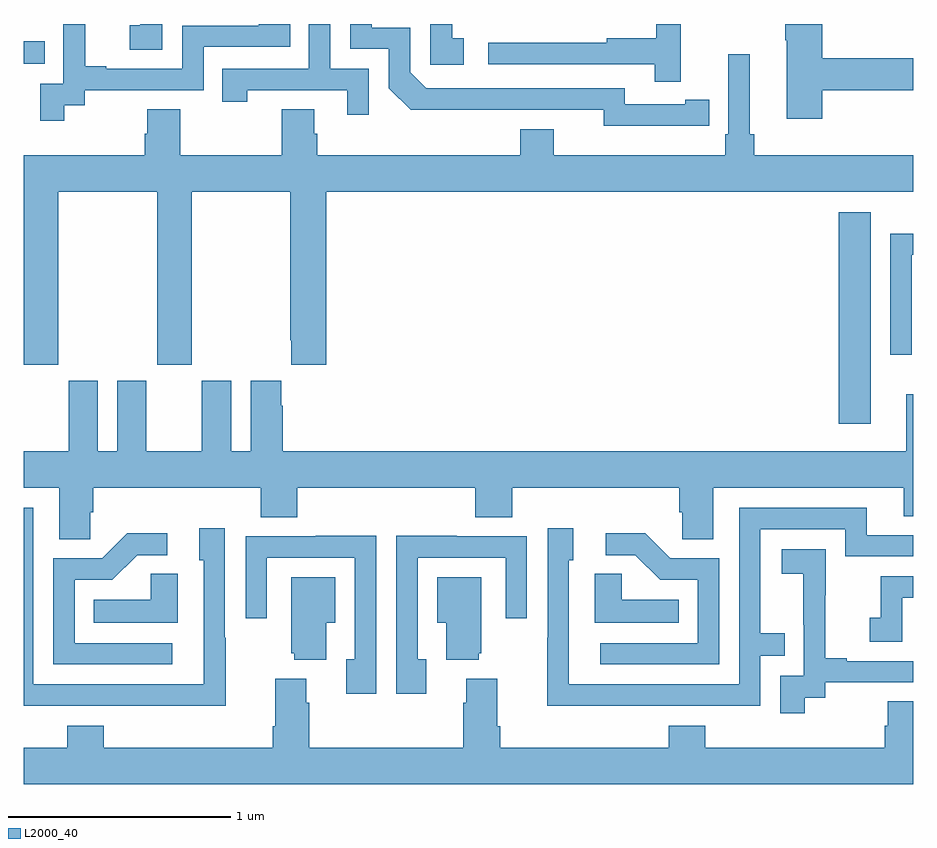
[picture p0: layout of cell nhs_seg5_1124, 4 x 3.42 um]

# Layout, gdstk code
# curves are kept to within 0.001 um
import gdstk
lib = gdstk.Library(unit=1e-6, precision=1e-09)
def R(c, l, rs):  # rectangles x0, y0, x1, y1
    for r in rs: c.add(gdstk.rectangle(r[:2], r[2:], *l))
def P(c, l, *ps):  # polygons
    for p in ps: c.add(gdstk.Polygon(p, *l))
L2000_40 = (2000, 40)

nhs_seg5_1124 = lib.new_cell('nhs_seg5_1124')
R(nhs_seg5_1124, L2000_40, [(182.666,905.001,182.809,905.953), (179,906.621,179.093,906.722)])
P(nhs_seg5_1124, L2000_40, [(179.182,906.433),(179.274,906.433),(179.274,906.501),(179.808,906.501),(179.808,906.696),(180.197,906.696),(180.197,906.799),(180.057,906.799),(180.057,906.792),(179.712,906.792),(179.712,906.597),(179.371,906.597),(179.371,906.61),(179.276,906.61),(179.276,906.799),(179.177,906.799),(179.177,906.761),(179.178,906.761),(179.178,906.531),(179.073,906.531),(179.073,906.363),(179.182,906.363)],
  [(180.979,906.735),(180.926,906.735),(180.926,906.799),(180.828,906.799),(180.828,906.615),(180.979,906.615)],
  [(180.552,906.597),(180.378,906.597),(180.378,906.799),(180.282,906.799),(180.282,906.597),(179.893,906.597),(179.893,906.45),(180.004,906.45),(180.004,906.501),(180.455,906.501),(180.455,906.39),(180.552,906.39)],
  [(179.622,906.799),(179.524,906.799),(179.524,906.793),(179.475,906.793),(179.475,906.684),(179.622,906.684)],
  [(182.591,906.502),(183,906.502),(183,906.644),(182.591,906.644),(182.591,906.799),(182.425,906.799),(182.425,906.727),(182.432,906.727),(182.432,906.372),(182.591,906.372)],
  [(181.976,906.342),(182.084,906.342),(182.084,906.458),(181.976,906.458),(181.976,906.438),(181.704,906.438),(181.704,906.51),(180.81,906.51),(180.738,906.582),(180.738,906.783),(180.565,906.783),(180.565,906.799),(180.468,906.799),(180.468,906.687),(180.642,906.687),(180.642,906.51),(180.74,906.413),(181.608,906.414),(181.608,906.341)],
  [(181.955,906.799),(181.845,906.799),(181.845,906.734),(181.621,906.734),(181.621,906.714),(181.089,906.714),(181.089,906.618),(181.837,906.618),(181.837,906.54),(181.955,906.54)],
  [(179.154,906.044),(179.599,906.044),(179.599,905.265),(179.754,905.265),(179.754,906.044),(180.199,906.044),(180.199,905.377),(180.203,905.377),(180.203,905.265),(180.359,905.265),(180.359,906.044),(183,906.044),(183,906.208),(182.285,906.208),(182.285,906.304),(182.266,906.304),(182.266,906.664),(182.169,906.664),(182.169,906.304),(182.156,906.304),(182.156,906.208),(181.384,906.208),(181.384,906.325),(181.232,906.325),(181.232,906.208),(180.32,906.208),(180.32,906.306),(180.307,906.306),(180.307,906.416),(180.16,906.416),(180.16,906.208),(179.703,906.208),(179.703,906.416),(179.555,906.416),(179.555,906.306),(179.543,906.306),(179.543,906.208),(179,906.208),(179,905.265),(179.154,905.265)],
  [(182.994,905.76),(183,905.76),(183,905.856),(182.898,905.856),(182.898,905.31),(182.994,905.31)],
  [(180.164,905.081),(180.157,905.081),(180.157,905.194),(180.02,905.194),(180.02,904.876),(179.932,904.876),(179.932,905.194),(179.801,905.194),(179.801,904.876),(179.551,904.876),(179.551,905.194),(179.42,905.194),(179.42,904.876),(179.332,904.876),(179.332,905.194),(179.201,905.194),(179.201,904.876),(179,904.876),(179,904.712),(179.159,904.712),(179.159,904.48),(179.298,904.48),(179.298,904.603),(179.312,904.603),(179.312,904.712),(180.065,904.712),(180.065,904.579),(180.23,904.579),(180.23,904.712),(181.031,904.712),(181.031,904.579),(181.196,904.579),(181.196,904.712),(181.949,904.712),(181.949,904.603),(181.962,904.603),(181.962,904.48),(182.101,904.48),(182.101,904.712),(182.957,904.712),(182.957,904.585),(183,904.585),(183,905.134),(182.969,905.134),(182.969,904.876),(180.164,904.876)],
  [(181.817,903.732),(182.313,903.732),(182.313,903.957),(182.423,903.957),(182.423,904.058),(182.313,904.058),(182.313,904.527),(182.694,904.527),(182.694,904.404),(183,904.404),(183,904.5),(182.791,904.5),(182.791,904.623),(182.217,904.623),(182.217,903.828),(181.452,903.828),(181.452,904.386),(181.471,904.386),(181.471,904.531),(181.356,904.531),(181.356,904.037),(181.354,904.037),(181.354,903.731),(181.817,903.731)],
  [(179.907,904.037),(179.904,904.037),(179.904,904.531),(179.789,904.531),(179.789,904.386),(179.808,904.386),(179.808,903.828),(179.043,903.828),(179.043,904.623),(179,904.623),(179,903.732),(179.443,903.732),(179.443,903.731),(179.907,903.731)],
  [(179.668,904.014),(179.229,904.014),(179.229,904.299),(179.398,904.299),(179.509,904.41),(179.644,904.41),(179.644,904.508),(179.465,904.508),(179.352,904.395),(179.133,904.395),(179.133,903.918),(179.668,903.918)],
  [(182.127,904.395),(181.908,904.395),(181.795,904.508),(181.617,904.508),(181.617,904.41),(181.751,904.41),(181.862,904.299),(182.031,904.299),(182.031,904.014),(181.593,904.014),(181.593,903.918),(182.127,903.918)],
  [(180.811,903.942),(180.771,903.942),(180.771,904.398),(181.167,904.398),(181.167,904.125),(181.263,904.125),(181.263,904.494),(180.947,904.494),(180.947,904.496),(180.675,904.496),(180.675,903.786),(180.811,903.786)],
  [(180.585,904.496),(180.313,904.496),(180.313,904.494),(179.997,904.494),(179.997,904.125),(180.093,904.125),(180.093,904.398),(180.489,904.398),(180.489,903.942),(180.449,903.942),(180.449,903.786),(180.585,903.786)],
  [(182.512,903.769),(182.604,903.769),(182.604,903.837),(183,903.837),(183,903.933),(182.701,903.933),(182.701,903.946),(182.606,903.946),(182.606,904.229),(182.607,904.229),(182.607,904.435),(182.409,904.435),(182.409,904.325),(182.507,904.325),(182.507,904.097),(182.508,904.097),(182.508,903.867),(182.403,903.867),(182.403,903.699),(182.512,903.699)],
  [(179.692,904.325),(179.571,904.325),(179.571,904.21),(179.314,904.21),(179.314,904.106),(179.692,904.106)],
  [(181.946,904.21),(181.689,904.21),(181.689,904.325),(181.568,904.325),(181.568,904.106),(181.946,904.106)],
  [(182.952,904.218),(183,904.218),(183,904.314),(182.854,904.314),(182.854,904.129),(182.805,904.129),(182.805,904.02),(182.952,904.02)],
  [(180.361,904.106),(180.4,904.106),(180.4,904.309),(180.203,904.309),(180.203,903.969),(180.215,903.969),(180.215,903.938),(180.361,903.938)],
  [(181.046,903.969),(181.057,903.969),(181.057,904.309),(180.86,904.309),(180.86,904.106),(180.899,904.106),(180.899,903.938),(181.046,903.938)],
  [(183,903.752),(182.885,903.752),(182.885,903.642),(182.873,903.642),(182.873,903.544),(182.066,903.544),(182.066,903.643),(181.901,903.643),(181.901,903.544),(181.142,903.544),(181.142,903.64),(181.129,903.64),(181.129,903.853),(180.989,903.853),(180.989,903.746),(180.977,903.746),(180.977,903.544),(180.284,903.544),(180.284,903.746),(180.271,903.746),(180.271,903.853),(180.131,903.853),(180.131,903.64),(180.119,903.64),(180.119,903.544),(179.36,903.544),(179.36,903.643),(179.195,903.643),(179.195,903.544),(179,903.544),(179,903.38),(183,903.38)])

lib.write_gds('nhs_seg5_1124.gds')
